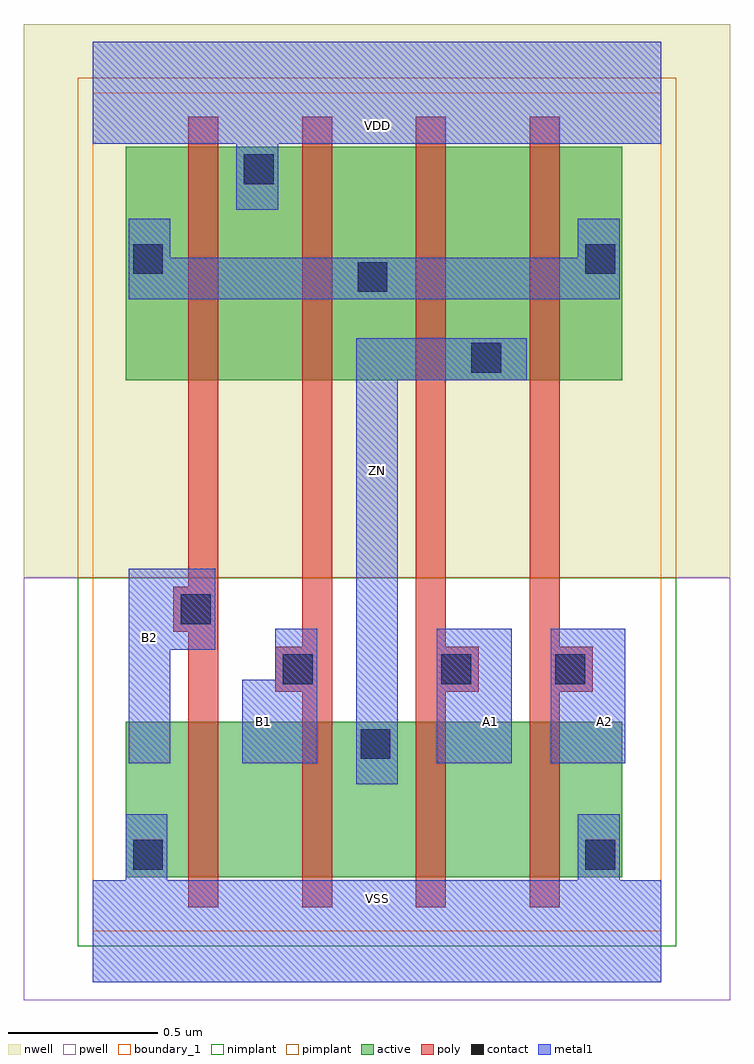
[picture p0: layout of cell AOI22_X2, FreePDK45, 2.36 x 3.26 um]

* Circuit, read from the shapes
.subckt AOI22_X2 A1 A2 B1 B2 VDD VSS ZN
M1 n1 B2 VSS VSUBS nfet w=0.52u l=0.1u
M2 ZN B1 n1 VSUBS nfet w=0.52u l=0.1u
M3 n2 A1 ZN VSUBS nfet w=0.52u l=0.1u
M4 VSS A2 n2 VSUBS nfet w=0.52u l=0.1u
M5 VDD B2 n3 n4 pfet w=0.78u l=0.1u
M6 n3 B1 VDD n4 pfet w=0.78u l=0.1u
M7 ZN A1 n3 n4 pfet w=0.78u l=0.1u
M8 n3 A2 ZN n4 pfet w=0.78u l=0.1u
.ends

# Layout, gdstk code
import gdstk
lib = gdstk.Library(unit=1e-6, precision=1e-09)
def R(c, l, rs):  # rectangles x0, y0, x1, y1
    for r in rs: c.add(gdstk.rectangle(r[:2], r[2:], *l))
def P(c, l, *ps):  # polygons
    for p in ps: c.add(gdstk.Polygon(p, *l))
active = (1, 0)
pwell = (2, 0)
nwell = (3, 0)
nimplant = (4, 0)
pimplant = (5, 0)
poly = (9, 0)
contact = (10, 0)
metal1 = (11, 0)
boundary_1 = (235, 1)

aoi22_x2 = lib.new_cell('AOI22_X2')
R(aoi22_x2, active, [(0.11,0.18,1.77,0.7), (0.11,1.84,1.77,2.62)])
R(aoi22_x2, pwell, [(-0.23,-0.23,2.13,1.18)])
R(aoi22_x2, nwell, [(-0.23,1.18,2.13,3.03)])
R(aoi22_x2, nimplant, [(-0.05,-0.05,1.95,1.18)])
R(aoi22_x2, pimplant, [(-0.05,1.18,1.95,2.85)])
P(aoi22_x2, poly, [(1.46,0.08),(1.56,0.08),(1.56,0.8),(1.67,0.8),(1.67,0.95),(1.56,0.95),(1.56,2.72),(1.46,2.72)],
  [(1.08,0.08),(1.18,0.08),(1.18,0.8),(1.29,0.8),(1.29,0.95),(1.18,0.95),(1.18,2.72),(1.08,2.72)],
  [(0.61,0.8),(0.7,0.8),(0.7,0.08),(0.8,0.08),(0.8,2.72),(0.7,2.72),(0.7,0.95),(0.61,0.95)],
  [(0.27,1),(0.32,1),(0.32,0.08),(0.42,0.08),(0.42,2.72),(0.32,2.72),(0.32,1.15),(0.27,1.15)])
R(aoi22_x2, contact, [(0.135,0.205,0.235,0.305), (1.645,0.205,1.745,0.305), (0.895,0.575,0.995,0.675), (0.635,0.825,0.735,0.925), (1.165,0.825,1.265,0.925), (1.545,0.825,1.645,0.925), (0.295,1.025,0.395,1.125), (1.265,1.865,1.365,1.965), (0.885,2.135,0.985,2.235), (0.135,2.195,0.235,2.295), (1.645,2.195,1.745,2.295), (0.505,2.495,0.605,2.595)])
R(aoi22_x2, metal1, [(1.15,0.56,1.4,1.01), (1.15,0.56,1.4,1.01), (1.53,0.56,1.78,1.01), (1.53,0.56,1.78,1.01)])
P(aoi22_x2, metal1, [(0.88,0.49),(1.02,0.49),(1.02,1.84),(1.45,1.84),(1.45,1.98),(0.88,1.98)],
  [(0.12,0.56),(0.26,0.56),(0.26,0.94),(0.41,0.94),(0.41,1.21),(0.12,1.21)],
  [(0,-0.17),(1.9,-0.17),(1.9,0.17),(1.76,0.17),(1.76,0.39),(1.62,0.39),(1.62,0.17),(0.25,0.17),(0.25,0.39),(0.11,0.39),(0.11,0.17),(0,0.17)],
  [(0.5,0.56),(0.75,0.56),(0.75,1.01),(0.61,1.01),(0.61,0.84),(0.5,0.84)],
  [(0,2.63),(0.48,2.63),(0.48,2.41),(0.62,2.41),(0.62,2.63),(1.9,2.63),(1.9,2.97),(0,2.97)],
  [(0,2.63),(0.48,2.63),(0.48,2.41),(0.62,2.41),(0.62,2.63),(1.9,2.63),(1.9,2.97),(0,2.97)],
  [(0,-0.17),(1.9,-0.17),(1.9,0.17),(1.76,0.17),(1.76,0.39),(1.62,0.39),(1.62,0.17),(0.25,0.17),(0.25,0.39),(0.11,0.39),(0.11,0.17),(0,0.17)],
  [(0.12,2.11),(1.76,2.11),(1.76,2.38),(1.62,2.38),(1.62,2.25),(0.26,2.25),(0.26,2.38),(0.12,2.38)],
  [(0.88,0.49),(1.02,0.49),(1.02,1.84),(1.45,1.84),(1.45,1.98),(0.88,1.98)],
  [(0.5,0.56),(0.75,0.56),(0.75,1.01),(0.61,1.01),(0.61,0.84),(0.5,0.84)],
  [(0.12,0.56),(0.26,0.56),(0.26,0.94),(0.41,0.94),(0.41,1.21),(0.12,1.21)])
R(aoi22_x2, boundary_1, [(0,0,1.9,2.8)])
aoi22_x2.add(gdstk.Label('ZN', (0.95,1.54), layer=11, texttype=0))
aoi22_x2.add(gdstk.Label('VSS', (0.95,0.11), layer=11, texttype=0))
aoi22_x2.add(gdstk.Label('VDD', (0.95,2.69), layer=11, texttype=0))
aoi22_x2.add(gdstk.Label('B2', (0.19,0.98), layer=11, texttype=0))
aoi22_x2.add(gdstk.Label('B1', (0.57,0.7), layer=11, texttype=0))
aoi22_x2.add(gdstk.Label('A2', (1.71,0.7), layer=11, texttype=0))
aoi22_x2.add(gdstk.Label('A1', (1.33,0.7), layer=11, texttype=0))

lib.write_gds('AOI22_X2.gds')
